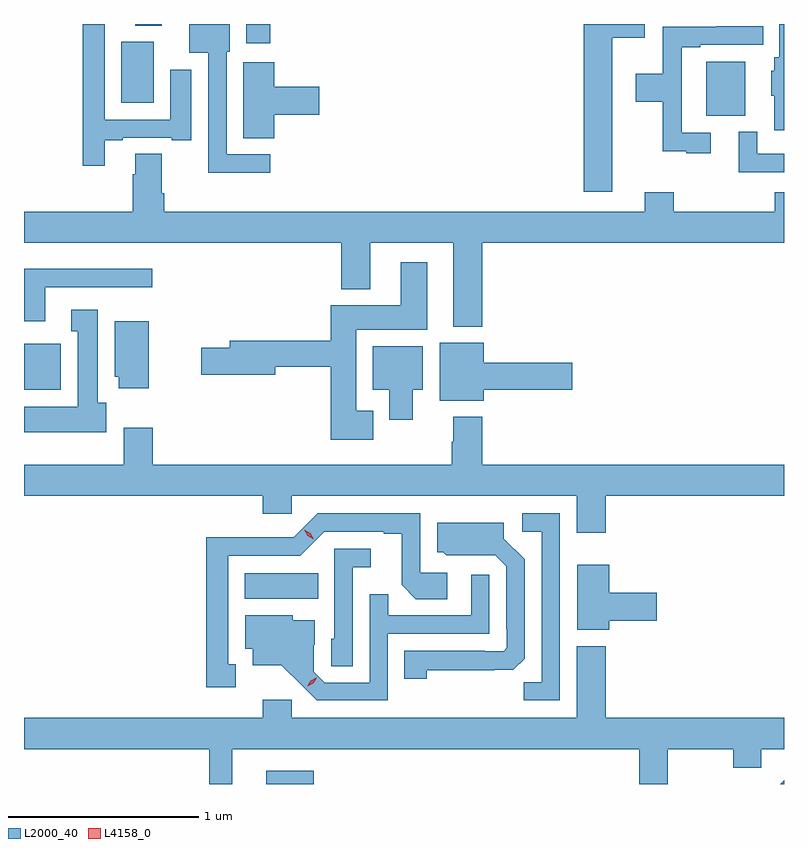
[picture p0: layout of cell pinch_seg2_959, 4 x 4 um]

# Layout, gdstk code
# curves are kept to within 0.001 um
import gdstk
lib = gdstk.Library(unit=1e-6, precision=1e-09)
def R(c, l, rs):  # rectangles x0, y0, x1, y1
    for r in rs: c.add(gdstk.rectangle(r[:2], r[2:], *l))
def P(c, l, *ps):  # polygons
    for p in ps: c.add(gdstk.Polygon(p, *l))
L2000_40 = (2000, 40)
L4158_0 = (4158, 0)

pinch_seg2_959 = lib.new_cell('pinch_seg2_959')
R(pinch_seg2_959, L2000_40, [(347.495,626.14,347.746,626.209), (347.381,627.116,347.768,627.25), (346.22,628.214,346.414,628.456), (349.811,629.657,350.017,629.941), (346.733,629.726,346.903,630.046), (347.39,630.039,347.516,630.14), (346.805,630.131,346.945,630.14)])
P(pinch_seg2_959, L2000_40, [(350.22,630.14),(350.195,630.14),(350.195,629.964),(350.168,629.964),(350.168,629.895),(350.153,629.895),(350.153,629.763),(350.168,629.763),(350.168,629.58),(350.22,629.58)],
  [(349.315,630.068),(349.486,630.068),(349.486,630.14),(349.166,630.14),(349.166,629.256),(349.315,629.256)],
  [(347.515,629.454),(347.286,629.454),(347.286,629.994),(347.302,629.994),(347.302,630.14),(347.09,630.14),(347.09,629.99),(347.19,629.99),(347.19,629.357),(347.515,629.357)],
  [(346.645,629.529),(346.741,629.529),(346.741,629.541),(346.997,629.541),(346.997,629.529),(347.101,629.529),(347.101,629.899),(346.991,629.899),(346.991,629.637),(346.644,629.637),(346.644,630.14),(346.528,630.14),(346.528,629.394),(346.645,629.394)],
  [(349.834,629.568),(349.683,629.568),(349.683,630.018),(349.78,630.018),(349.78,630.03),(350.11,630.03),(350.11,630.128),(349.867,630.128),(349.867,630.126),(349.582,630.126),(349.582,629.878),(349.44,629.878),(349.44,629.731),(349.582,629.731),(349.582,629.471),(349.706,629.471),(349.706,629.46),(349.834,629.46)],
  [(347.537,629.663),(347.773,629.663),(347.773,629.81),(347.537,629.81),(347.537,629.938),(347.375,629.938),(347.375,629.539),(347.537,629.539)],
  [(350.22,629.457),(350.079,629.457),(350.079,629.572),(349.982,629.572),(349.982,629.361),(350.22,629.361)],
  [(348.632,628.988),(350.22,628.988),(350.22,629.254),(350.171,629.254),(350.171,629.152),(349.64,629.152),(349.64,629.254),(349.487,629.254),(349.487,629.152),(346.958,629.152),(346.958,629.248),(346.945,629.248),(346.945,629.456),(346.805,629.456),(346.805,629.348),(346.793,629.348),(346.793,629.152),(346.22,629.152),(346.22,628.988),(347.891,628.988),(347.891,628.745),(348.043,628.745),(348.043,628.988),(348.479,628.988),(348.479,628.547),(348.632,628.547)],
  [(348.058,628.105),(347.968,628.105),(347.968,628.532),(348.343,628.532),(348.343,628.885),(348.203,628.885),(348.203,628.66),(347.834,628.66),(347.834,628.472),(347.303,628.472),(347.303,628.436),(347.154,628.436),(347.154,628.294),(347.542,628.294),(347.542,628.336),(347.834,628.336),(347.834,627.953),(348.058,627.953)],
  [(346.333,628.755),(346.894,628.755),(346.894,628.852),(346.22,628.852),(346.22,628.575),(346.333,628.575)],
  [(346.654,628.146),(346.609,628.146),(346.609,628.636),(346.469,628.636),(346.469,628.523),(346.502,628.523),(346.502,628.126),(346.22,628.126),(346.22,627.992),(346.654,627.992)],
  [(346.876,628.576),(346.697,628.576),(346.697,628.284),(346.718,628.284),(346.718,628.224),(346.876,628.224)],
  [(348.64,628.216),(349.105,628.216),(349.105,628.358),(348.64,628.358),(348.64,628.462),(348.407,628.462),(348.407,628.157),(348.64,628.157)],
  [(348.265,628.214),(348.319,628.214),(348.319,628.444),(348.056,628.444),(348.056,628.214),(348.143,628.214),(348.143,628.056),(348.265,628.056)],
  [(349.283,627.656),(350.22,627.656),(350.22,627.82),(348.632,627.82),(348.632,628.072),(348.479,628.072),(348.479,627.941),(348.472,627.941),(348.472,627.82),(346.898,627.82),(346.898,628.015),(346.745,628.015),(346.745,627.82),(346.22,627.82),(346.22,627.656),(347.477,627.656),(347.477,627.563),(347.628,627.563),(347.628,627.656),(349.13,627.656),(349.13,627.462),(349.283,627.462)],
  [(347.335,626.769),(347.296,626.769),(347.296,627.342),(347.673,627.342),(347.799,627.468),(348.113,627.468),(348.113,627.456),(348.207,627.456),(348.207,627.188),(348.283,627.112),(348.448,627.112),(348.448,627.252),(348.306,627.252),(348.306,627.564),(347.766,627.564),(347.64,627.438),(347.418,627.438),(347.418,627.44),(347.178,627.44),(347.178,626.649),(347.335,626.649)],
  [(349.041,627.564),(348.843,627.564),(348.843,627.468),(348.945,627.468),(348.945,626.675),(348.85,626.675),(348.85,626.58),(349.041,626.58)],
  [(348.339,626.74),(348.796,626.741),(348.855,626.8),(348.855,627.322),(348.745,627.432),(348.745,627.514),(348.395,627.514),(348.395,627.36),(348.426,627.36),(348.442,627.344),(348.699,627.345),(348.759,627.285),(348.759,626.956),(348.762,626.956),(348.762,626.856),(348.744,626.838),(348.644,626.838),(348.644,626.841),(348.22,626.841),(348.22,626.694),(348.339,626.694)],
  [(347.949,627.281),(348.046,627.281),(348.046,627.378),(347.853,627.378),(347.853,626.904),(347.838,626.904),(347.838,626.761),(347.949,626.761)],
  [(349.3,626.999),(349.549,626.999),(349.549,627.146),(349.3,627.146),(349.3,627.295),(349.133,627.295),(349.133,626.951),(349.3,626.951)],
  [(348.135,626.931),(348.669,626.931),(348.669,627.241),(348.573,627.241),(348.573,627.027),(348.137,627.027),(348.137,627.14),(348.039,627.14),(348.039,626.673),(347.802,626.673),(347.745,626.73),(347.745,626.872),(347.749,626.872),(347.749,627.001),(347.634,627.001),(347.634,627.028),(347.384,627.028),(347.384,626.852),(347.423,626.852),(347.423,626.765),(347.575,626.765),(347.762,626.58),(348.135,626.58)],
  [(346.22,626.324),(347.196,626.324),(347.196,626.14),(347.317,626.14),(347.317,626.324),(349.457,626.324),(349.457,626.14),(349.609,626.14),(349.609,626.324),(349.954,626.324),(349.954,626.225),(350.101,626.225),(350.101,626.324),(350.22,626.324),(350.22,626.488),(349.283,626.488),(349.283,626.866),(349.13,626.866),(349.13,626.488),(347.628,626.488),(347.628,626.584),(347.477,626.584),(347.477,626.488),(346.22,626.488)],
  [(350.22,626.159),(350.201,626.14),(350.22,626.14)])
P(pinch_seg2_959, L4158_0, [(347.711,626.655),(347.711,626.655),(347.728,626.684),(347.759,626.699),(347.76,626.699),(347.76,626.699),(347.742,626.67),(347.711,626.655)],
  [(347.744,627.427),(347.713,627.446),(347.696,627.478),(347.696,627.479),(347.696,627.479),(347.727,627.46),(347.744,627.427),(347.744,627.427)])

lib.write_gds('pinch_seg2_959.gds')
